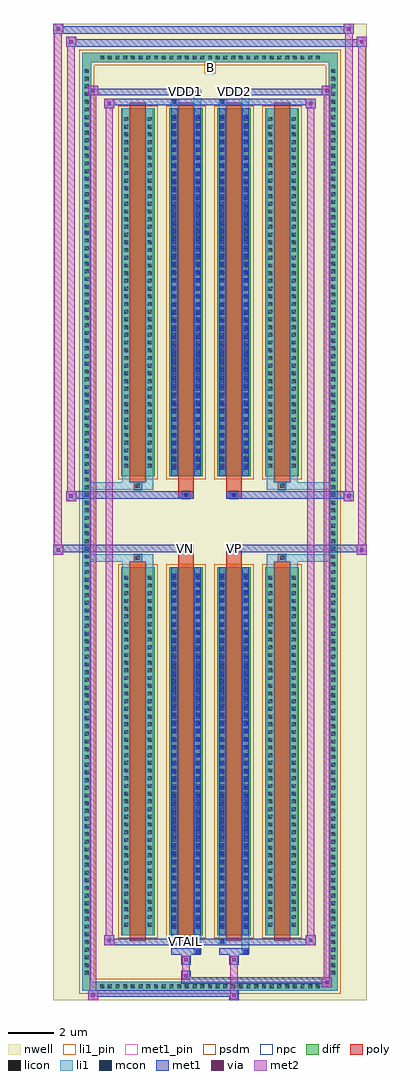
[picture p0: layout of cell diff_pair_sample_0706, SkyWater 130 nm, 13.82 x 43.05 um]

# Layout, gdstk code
import gdstk
lib = gdstk.Library(unit=1e-6, precision=5e-09)
def R(c, l, rs):  # rectangles x0, y0, x1, y1
    for r in rs: c.add(gdstk.rectangle(r[:2], r[2:], *l))
def A(c, l, x, y, w, h, nx, ny, dx, dy):  # array of equal rectangles
    R(c, l, [(x+i*dx, y+j*dy, x+i*dx+w, y+j*dy+h) for i in range(nx) for j in range(ny)])
def P(c, l, *ps):  # polygons
    for p in ps: c.add(gdstk.Polygon(p, *l))
nwell = (64, 20)
diff = (65, 20)
poly = (66, 20)
licon = (66, 44)
li1_pin = (67, 16)
li1 = (67, 20)
mcon = (67, 44)
met1_pin = (68, 16)
met1 = (68, 20)
via = (68, 44)
met2 = (69, 20)
psdm = (94, 20)
npc = (95, 20)

diff_pair_sample_0706 = lib.new_cell('diff_pair_sample_0706')
R(diff_pair_sample_0706, nwell, [(-6.91,-21.09,6.91,21.96), (-4.23,-19.28,-0.01,-0.82), (0.01,-19.28,4.23,-0.82), (-4.23,0.82,-0.01,19.28), (0.01,0.82,4.23,19.28)])
A(diff_pair_sample_0706, diff, -4.965, -20.69, 0.41, 0.41, 29, 2, 0.34, 40.97)
A(diff_pair_sample_0706, diff, -5.64, -20.095, 0.41, 0.41, 1, 118, 0, 0.34)
A(diff_pair_sample_0706, diff, 5.23, -20.095, 0.41, 0.41, 1, 118, 0, 0.34)
A(diff_pair_sample_0706, diff, -3.92, -18.235, 1.48, 16.23, 4, 2, 2.12, 20.24)
R(diff_pair_sample_0706, diff, [(-4.965,-20.69,4.965,-20.28), (-5.64,-20.095,-5.23,20.095), (5.23,-20.095,5.64,20.095), (-4.965,20.28,4.965,20.69)])
P(diff_pair_sample_0706, diff, [(5.64,20.69),(-5.64,20.69),(-5.64,-20.28),(-5.23,-20.28),(-5.23,20.28),(5.23,20.28),(5.23,-20.28),(-5.23,-20.28),(-5.64,-20.28),(-5.64,-20.69),(5.64,-20.69)])
A(diff_pair_sample_0706, poly, -3.53, -18.485, 0.7, 16.73, 4, 2, 2.12, 20.24)
R(diff_pair_sample_0706, poly, [(-3.345,-1.755,-3.015,-1.425), (-3.345,-1.755,-3.015,-1.425), (-1.41,-1.755,-0.71,-1.35), (0.71,-1.755,1.41,-1.35), (3.015,-1.755,3.345,-1.425), (3.015,-1.755,3.345,-1.425), (-1.41,-1.35,-0.71,-1.02), (-1.225,-1.35,-0.895,-1.02), (0.71,-1.35,1.41,-1.02), (0.895,-1.35,1.225,-1.02), (-1.41,1.02,-0.71,1.35), (-1.225,1.02,-0.895,1.35), (0.71,1.02,1.41,1.35), (0.895,1.02,1.225,1.35), (-1.41,1.35,-0.71,1.755), (0.71,1.35,1.41,1.755), (-3.345,1.425,-3.015,1.755), (-3.345,1.425,-3.015,1.755), (3.015,1.425,3.345,1.755), (3.015,1.425,3.345,1.755)])
A(diff_pair_sample_0706, licon, -4.845, -20.57, 0.17, 0.17, 29, 2, 0.34, 40.97)
A(diff_pair_sample_0706, licon, -5.52, -19.975, 0.17, 0.17, 1, 118, 0, 0.34)
A(diff_pair_sample_0706, licon, 5.35, -19.975, 0.17, 0.17, 1, 118, 0, 0.34)
A(diff_pair_sample_0706, licon, -3.78, -17.855, 0.17, 0.17, 1, 46, 0, 0.34)
A(diff_pair_sample_0706, licon, -2.75, -17.855, 0.17, 0.17, 1, 46, 0, 0.34)
A(diff_pair_sample_0706, licon, -1.66, -17.855, 0.17, 0.17, 1, 46, 0, 0.34)
A(diff_pair_sample_0706, licon, -0.63, -17.855, 0.17, 0.17, 1, 46, 0, 0.34)
A(diff_pair_sample_0706, licon, 0.46, -17.855, 0.17, 0.17, 1, 46, 0, 0.34)
A(diff_pair_sample_0706, licon, 1.49, -17.855, 0.17, 0.17, 1, 46, 0, 0.34)
A(diff_pair_sample_0706, licon, 2.58, -17.855, 0.17, 0.17, 1, 46, 0, 0.34)
A(diff_pair_sample_0706, licon, 3.61, -17.855, 0.17, 0.17, 1, 46, 0, 0.34)
A(diff_pair_sample_0706, licon, -3.78, 2.385, 0.17, 0.17, 1, 46, 0, 0.34)
A(diff_pair_sample_0706, licon, -2.75, 2.385, 0.17, 0.17, 1, 46, 0, 0.34)
A(diff_pair_sample_0706, licon, -1.66, 2.385, 0.17, 0.17, 1, 46, 0, 0.34)
A(diff_pair_sample_0706, licon, -0.63, 2.385, 0.17, 0.17, 1, 46, 0, 0.34)
A(diff_pair_sample_0706, licon, 0.46, 2.385, 0.17, 0.17, 1, 46, 0, 0.34)
A(diff_pair_sample_0706, licon, 1.49, 2.385, 0.17, 0.17, 1, 46, 0, 0.34)
A(diff_pair_sample_0706, licon, 2.58, 2.385, 0.17, 0.17, 1, 46, 0, 0.34)
A(diff_pair_sample_0706, licon, 3.61, 2.385, 0.17, 0.17, 1, 46, 0, 0.34)
R(diff_pair_sample_0706, licon, [(-3.265,-1.675,-3.095,-1.505), (3.095,-1.675,3.265,-1.505), (-1.145,-1.27,-0.975,-1.1), (0.975,-1.27,1.145,-1.1), (-1.145,1.1,-0.975,1.27), (0.975,1.1,1.145,1.27), (-3.265,1.505,-3.095,1.675), (3.095,1.505,3.265,1.675)])
R(diff_pair_sample_0706, li1_pin, [(-0.25,19.78,0.25,20.28)])
A(diff_pair_sample_0706, li1, -4.925, -20.65, 0.33, 0.33, 29, 2, 0.34, 40.97)
A(diff_pair_sample_0706, li1, -5.6, -20.055, 0.33, 0.33, 1, 118, 0, 0.34)
A(diff_pair_sample_0706, li1, 5.27, -20.055, 0.33, 0.33, 1, 118, 0, 0.34)
A(diff_pair_sample_0706, li1, -1.66, -17.945, 0.17, 0.17, 1, 44, 0, 0.36)
A(diff_pair_sample_0706, li1, -0.63, -17.945, 0.17, 0.17, 1, 44, 0, 0.36)
A(diff_pair_sample_0706, li1, 0.46, -17.945, 0.17, 0.17, 1, 44, 0, 0.36)
A(diff_pair_sample_0706, li1, 1.49, -17.945, 0.17, 0.17, 1, 44, 0, 0.36)
A(diff_pair_sample_0706, li1, -3.86, -17.935, 0.33, 0.33, 1, 46, 0, 0.34)
A(diff_pair_sample_0706, li1, -2.83, -17.935, 0.33, 0.33, 1, 46, 0, 0.34)
A(diff_pair_sample_0706, li1, -1.74, -17.935, 0.33, 0.33, 1, 46, 0, 0.34)
A(diff_pair_sample_0706, li1, -0.71, -17.935, 0.33, 0.33, 1, 46, 0, 0.34)
A(diff_pair_sample_0706, li1, 0.38, -17.935, 0.33, 0.33, 1, 46, 0, 0.34)
A(diff_pair_sample_0706, li1, 1.41, -17.935, 0.33, 0.33, 1, 46, 0, 0.34)
A(diff_pair_sample_0706, li1, 2.5, -17.935, 0.33, 0.33, 1, 46, 0, 0.34)
A(diff_pair_sample_0706, li1, 3.53, -17.935, 0.33, 0.33, 1, 46, 0, 0.34)
A(diff_pair_sample_0706, li1, -1.66, 2.295, 0.17, 0.17, 1, 44, 0, 0.36)
A(diff_pair_sample_0706, li1, -0.63, 2.295, 0.17, 0.17, 1, 44, 0, 0.36)
A(diff_pair_sample_0706, li1, 0.46, 2.295, 0.17, 0.17, 1, 44, 0, 0.36)
A(diff_pair_sample_0706, li1, 1.49, 2.295, 0.17, 0.17, 1, 44, 0, 0.36)
A(diff_pair_sample_0706, li1, -3.86, 2.305, 0.33, 0.33, 1, 46, 0, 0.34)
A(diff_pair_sample_0706, li1, -2.83, 2.305, 0.33, 0.33, 1, 46, 0, 0.34)
A(diff_pair_sample_0706, li1, -1.74, 2.305, 0.33, 0.33, 1, 46, 0, 0.34)
A(diff_pair_sample_0706, li1, -0.71, 2.305, 0.33, 0.33, 1, 46, 0, 0.34)
A(diff_pair_sample_0706, li1, 0.38, 2.305, 0.33, 0.33, 1, 46, 0, 0.34)
A(diff_pair_sample_0706, li1, 1.41, 2.305, 0.33, 0.33, 1, 46, 0, 0.34)
A(diff_pair_sample_0706, li1, 2.5, 2.305, 0.33, 0.33, 1, 46, 0, 0.34)
A(diff_pair_sample_0706, li1, 3.53, 2.305, 0.33, 0.33, 1, 46, 0, 0.34)
R(diff_pair_sample_0706, li1, [(-5.64,-20.69,-5.23,-20.28), (-5.64,-20.69,-5.23,-20.28), (-5.23,-20.69,5.23,-20.28), (5.23,-20.69,5.64,-20.28), (5.23,-20.69,5.64,-20.28), (-5.64,-20.28,-5.23,20.28), (5.23,-20.28,5.64,20.28), (-0.71,-19.04,-0.38,-18.235), (-0.63,-19.04,-0.46,-18.87), (1.41,-19.04,1.74,-18.235), (1.49,-19.04,1.66,-18.87), (-1.74,-18.61,-1.41,-18.235), (-1.66,-18.61,-1.49,-18.44), (0.38,-18.61,0.71,-18.235), (0.46,-18.61,0.63,-18.44), (-3.86,-18.235,-3.53,-2.005), (-2.83,-18.235,-2.5,-2.005), (-1.74,-18.235,-1.41,-2.005), (-0.71,-18.235,-0.38,-2.005), (0.38,-18.235,0.71,-2.005), (1.41,-18.235,1.74,-2.005), (2.5,-18.235,2.83,-2.005), (3.53,-18.235,3.86,-2.005), (-1.66,-17.945,-1.49,-2.295), (-0.63,-17.945,-0.46,-2.295), (0.46,-17.945,0.63,-2.295), (1.49,-17.945,1.66,-2.295), (-3.86,-2.005,-3.53,-1.425), (-2.83,-2.005,-2.5,-1.425), (2.5,-2.005,2.83,-1.425), (3.53,-2.005,3.86,-1.425), (-5.64,-1.755,-3.345,-1.425), (-3.86,-1.755,-3.345,-1.425), (-3.345,-1.755,-3.015,-1.425), (-3.015,-1.755,-2.5,-1.425), (2.5,-1.755,3.015,-1.425), (3.015,-1.755,3.345,-1.425), (3.015,-1.755,5.64,-1.425), (3.345,-1.755,3.86,-1.425), (-1.225,-1.35,-0.895,-1.02), (0.895,-1.35,1.225,-1.02), (-1.225,1.02,-0.895,1.35), (0.895,1.02,1.225,1.35), (-5.64,1.425,-3.345,1.755), (-3.86,1.425,-3.345,1.755), (-3.86,1.425,-3.53,2.005), (-3.345,1.425,-3.015,1.755), (-3.015,1.425,-2.5,1.755), (-2.83,1.425,-2.5,2.005), (2.5,1.425,3.015,1.755), (2.5,1.425,2.83,2.005), (3.015,1.425,3.345,1.755), (3.015,1.425,5.64,1.755), (3.345,1.425,3.86,1.755), (3.53,1.425,3.86,2.005), (-3.86,2.005,-3.53,18.235), (-2.83,2.005,-2.5,18.235), (-1.74,2.005,-1.41,18.235), (-0.71,2.005,-0.38,18.235), (0.38,2.005,0.71,18.235), (1.41,2.005,1.74,18.235), (2.5,2.005,2.83,18.235), (3.53,2.005,3.86,18.235), (-1.66,2.295,-1.49,17.945), (-0.63,2.295,-0.46,17.945), (0.46,2.295,0.63,17.945), (1.49,2.295,1.66,17.945), (-1.74,18.235,-1.41,18.61), (-0.71,18.235,-0.38,19.04), (0.38,18.235,0.71,18.61), (1.41,18.235,1.74,19.04), (-1.66,18.44,-1.49,18.61), (0.46,18.44,0.63,18.61), (-0.63,18.87,-0.46,19.04), (1.49,18.87,1.66,19.04), (-5.64,20.28,-5.23,20.69), (-5.64,20.28,-5.23,20.69), (-5.23,20.28,5.23,20.69), (5.23,20.28,5.64,20.69), (5.23,20.28,5.64,20.69)])
A(diff_pair_sample_0706, mcon, -1.66, -17.945, 0.17, 0.17, 1, 44, 0, 0.36)
A(diff_pair_sample_0706, mcon, -0.63, -17.945, 0.17, 0.17, 1, 44, 0, 0.36)
A(diff_pair_sample_0706, mcon, 0.46, -17.945, 0.17, 0.17, 1, 44, 0, 0.36)
A(diff_pair_sample_0706, mcon, 1.49, -17.945, 0.17, 0.17, 1, 44, 0, 0.36)
A(diff_pair_sample_0706, mcon, -1.66, 2.295, 0.17, 0.17, 1, 44, 0, 0.36)
A(diff_pair_sample_0706, mcon, -0.63, 2.295, 0.17, 0.17, 1, 44, 0, 0.36)
A(diff_pair_sample_0706, mcon, 0.46, 2.295, 0.17, 0.17, 1, 44, 0, 0.36)
A(diff_pair_sample_0706, mcon, 1.49, 2.295, 0.17, 0.17, 1, 44, 0, 0.36)
R(diff_pair_sample_0706, mcon, [(-0.63,-19.04,-0.46,-18.87), (1.49,-19.04,1.66,-18.87), (-1.66,-18.61,-1.49,-18.44), (0.46,-18.61,0.63,-18.44), (-1.145,-1.27,-0.975,-1.1), (0.975,-1.27,1.145,-1.1), (-1.145,1.1,-0.975,1.27), (0.975,1.1,1.145,1.27), (-1.66,18.44,-1.49,18.61), (0.46,18.44,0.63,18.61), (-0.63,18.87,-0.46,19.04), (1.49,18.87,1.66,19.04)])
R(diff_pair_sample_0706, met1_pin, [(-1.195,-18.65,-0.925,-18.38), (-1.195,-1.29,-0.925,-1.02), (0.925,-1.29,1.195,-1.02), (-1.195,18.83,-0.925,19.1), (0.925,18.83,1.195,19.1)])
A(diff_pair_sample_0706, met1, -1.72, -18.005, 0.29, 0.29, 1, 44, 0, 0.36)
A(diff_pair_sample_0706, met1, -0.69, -18.005, 0.29, 0.29, 1, 44, 0, 0.36)
A(diff_pair_sample_0706, met1, 0.4, -18.005, 0.29, 0.29, 1, 44, 0, 0.36)
A(diff_pair_sample_0706, met1, 1.43, -18.005, 0.29, 0.29, 1, 44, 0, 0.36)
A(diff_pair_sample_0706, met1, -1.72, 2.235, 0.29, 0.29, 1, 44, 0, 0.36)
A(diff_pair_sample_0706, met1, -0.69, 2.235, 0.29, 0.29, 1, 44, 0, 0.36)
A(diff_pair_sample_0706, met1, 0.4, 2.235, 0.29, 0.29, 1, 44, 0, 0.36)
A(diff_pair_sample_0706, met1, 1.43, 2.235, 0.29, 0.29, 1, 44, 0, 0.36)
R(diff_pair_sample_0706, met1, [(-5.37,-21.09,-4.94,-20.66), (0.845,-21.09,1.275,-20.66), (-5.37,-20.95,1.275,-20.66), (4.94,-20.52,5.37,-20.09), (-1.275,-20.38,5.37,-20.09), (-1.275,-20.24,-0.845,-19.81), (-1.275,-19.53,-0.845,-19.1), (0.845,-19.53,1.275,-19.1), (-1.72,-19.1,-0.4,-18.81), (-0.69,-19.1,-0.4,-18.81), (0.4,-19.1,1.72,-18.81), (1.43,-19.1,1.72,-18.81), (-4.66,-18.67,-4.23,-18.24), (-4.66,-18.67,-1.72,-18.38), (-1.72,-18.67,-1.43,-18.38), (-1.72,-18.67,-0.4,-18.38), (-0.4,-18.67,0.4,-18.38), (0.4,-18.67,0.69,-18.38), (0.4,-18.67,1.72,-18.38), (1.72,-18.67,4.66,-18.38), (4.23,-18.67,4.66,-18.24), (-1.72,-18.235,-1.43,-2.005), (-0.69,-18.235,-0.4,-2.005), (0.4,-18.235,0.69,-2.005), (1.43,-18.235,1.72,-2.005), (-6.91,-1.45,-6.48,-1.02), (6.48,-1.45,6.91,-1.02), (-6.91,-1.35,-0.71,-1.02), (-1.41,-1.35,-0.71,-1.02), (0.71,-1.35,1.41,-1.02), (0.71,-1.35,6.91,-1.02), (-1.205,-1.33,-0.915,-1.04), (0.915,-1.33,1.205,-1.04), (-6.34,0.92,-5.91,1.35), (5.91,0.92,6.34,1.35), (-6.34,1.02,-1.41,1.35), (-1.41,1.02,-0.71,1.35), (0.71,1.02,1.41,1.35), (1.41,1.02,6.34,1.35), (-1.205,1.04,-0.915,1.33), (0.915,1.04,1.205,1.33), (-1.72,2.005,-1.43,18.235), (-0.69,2.005,-0.4,18.235), (0.4,2.005,0.69,18.235), (1.43,2.005,1.72,18.235), (-4.66,18.24,-4.23,18.67), (4.23,18.24,4.66,18.67), (-4.66,18.38,-1.72,18.67), (-1.72,18.38,-1.43,18.67), (-1.72,18.38,-0.4,18.67), (-0.4,18.38,0.4,18.67), (0.4,18.38,0.69,18.67), (0.4,18.38,1.72,18.67), (1.72,18.38,4.66,18.67), (-5.37,18.81,-4.94,19.24), (-5.37,18.81,-1.72,19.1), (-1.72,18.81,-0.4,19.1), (-0.69,18.81,-0.4,19.1), (0.4,18.81,1.72,19.1), (1.43,18.81,1.72,19.1), (1.72,18.81,5.37,19.1), (4.94,18.81,5.37,19.24), (-6.34,20.96,-5.91,21.39), (-6.34,20.96,-4.23,21.29), (-4.23,20.96,4.23,21.29), (4.23,20.96,6.91,21.29), (6.48,20.96,6.91,21.39), (-6.91,21.53,-6.48,21.96), (-6.91,21.53,-4.23,21.86), (-4.23,21.53,4.23,21.86), (4.23,21.53,6.34,21.86), (5.91,21.53,6.34,21.96)])
R(diff_pair_sample_0706, via, [(-5.23,-20.95,-5.08,-20.8), (0.985,-20.95,1.135,-20.8), (5.08,-20.38,5.23,-20.23), (-1.135,-20.1,-0.985,-19.95), (-1.135,-19.39,-0.985,-19.24), (0.985,-19.39,1.135,-19.24), (-4.52,-18.53,-4.37,-18.38), (4.37,-18.53,4.52,-18.38), (-6.77,-1.31,-6.62,-1.16), (6.62,-1.31,6.77,-1.16), (-6.2,1.06,-6.05,1.21), (6.05,1.06,6.2,1.21), (-4.52,18.38,-4.37,18.53), (4.37,18.38,4.52,18.53), (-5.23,18.95,-5.08,19.1), (5.08,18.95,5.23,19.1), (-6.2,21.1,-6.05,21.25), (6.62,21.1,6.77,21.25), (-6.77,21.67,-6.62,21.82), (6.05,21.67,6.2,21.82)])
R(diff_pair_sample_0706, met2, [(-5.37,-21.09,-4.94,-20.66), (-5.3,-21.09,-5.01,19.24), (-5.01,-21.09,-4.94,-20.66), (-5.32,-21.04,-4.99,-20.71), (0.895,-21.04,1.225,-20.71), (0.895,-20.71,1.225,-19.48), (4.94,-20.52,5.37,-20.09), (5.01,-20.52,5.3,19.24), (5.3,-20.52,5.37,-20.09), (4.99,-20.47,5.32,-20.14), (-1.225,-20.19,-0.895,-19.86), (-1.225,-19.86,-0.895,-19.48), (-1.225,-19.48,-0.895,-19.15), (0.895,-19.48,1.225,-19.15), (-4.66,-18.67,-4.23,-18.24), (-4.59,-18.67,-4.3,18.67), (-4.3,-18.67,-4.23,-18.24), (4.23,-18.67,4.66,-18.24), (4.3,-18.67,4.59,18.67), (4.59,-18.67,4.66,-18.24), (-4.61,-18.62,-4.28,-18.29), (4.28,-18.62,4.61,-18.29), (-6.91,-1.45,-6.48,-1.02), (-6.86,-1.45,-6.53,21.96), (-6.53,-1.45,-6.48,-1.02), (6.48,-1.45,6.91,-1.02), (6.53,-1.45,6.86,21.39), (6.86,-1.45,6.91,-1.02), (-6.86,-1.4,-6.53,-1.07), (6.53,-1.4,6.86,-1.07), (-6.34,0.92,-5.91,1.35), (-6.29,0.92,-5.96,21.39), (-5.96,0.92,-5.91,1.35), (5.91,0.92,6.34,1.35), (5.96,0.92,6.29,21.96), (6.29,0.92,6.34,1.35), (-6.29,0.97,-5.96,1.3), (5.96,0.97,6.29,1.3), (-4.66,18.24,-4.23,18.67), (-4.3,18.24,-4.23,18.67), (4.23,18.24,4.66,18.67), (4.59,18.24,4.66,18.67), (-4.61,18.29,-4.28,18.62), (4.28,18.29,4.61,18.62), (-5.37,18.81,-4.94,19.24), (-5.01,18.81,-4.94,19.24), (4.94,18.81,5.37,19.24), (5.3,18.81,5.37,19.24), (-5.32,18.86,-4.99,19.19), (4.99,18.86,5.32,19.19), (-6.34,20.96,-5.91,21.39), (-5.96,20.96,-5.91,21.39), (6.48,20.96,6.91,21.39), (6.86,20.96,6.91,21.39), (-6.29,21.01,-5.96,21.34), (6.53,21.01,6.86,21.34), (-6.91,21.53,-6.48,21.96), (-6.53,21.53,-6.48,21.96), (5.91,21.53,6.34,21.96), (6.29,21.53,6.34,21.96), (-6.86,21.58,-6.53,21.91), (5.96,21.58,6.29,21.91)])
A(diff_pair_sample_0706, psdm, -4.05, -18.365, 1.74, 16.49, 4, 2, 2.12, 20.24)
P(diff_pair_sample_0706, psdm, [(5.77,20.82),(-5.77,20.82),(-5.77,-20.15),(-5.1,-20.15),(-5.1,20.15),(5.1,20.15),(5.1,-20.15),(-5.1,-20.15),(-5.77,-20.15),(-5.77,-20.82),(5.77,-20.82)])
R(diff_pair_sample_0706, npc, [(-3.365,-1.775,-2.995,-1.405), (2.995,-1.775,3.365,-1.405), (-1.245,-1.37,-0.875,-1), (0.875,-1.37,1.245,-1), (-1.245,1,-0.875,1.37), (0.875,1,1.245,1.37), (-3.365,1.405,-2.995,1.775), (2.995,1.405,3.365,1.775)])
diff_pair_sample_0706.add(gdstk.Label('VTAIL', (-1.06,-18.515), layer=68, texttype=5))
diff_pair_sample_0706.add(gdstk.Label('VN', (-1.06,-1.155), layer=68, texttype=5))
diff_pair_sample_0706.add(gdstk.Label('VP', (1.06,-1.155), layer=68, texttype=5))
diff_pair_sample_0706.add(gdstk.Label('B', (0,20.03), layer=67, texttype=5))
diff_pair_sample_0706.add(gdstk.Label('VDD2', (1.06,18.965), layer=68, texttype=5))
diff_pair_sample_0706.add(gdstk.Label('VDD1', (-1.06,18.965), layer=68, texttype=5))

lib.write_gds('diff_pair_sample_0706.gds')
